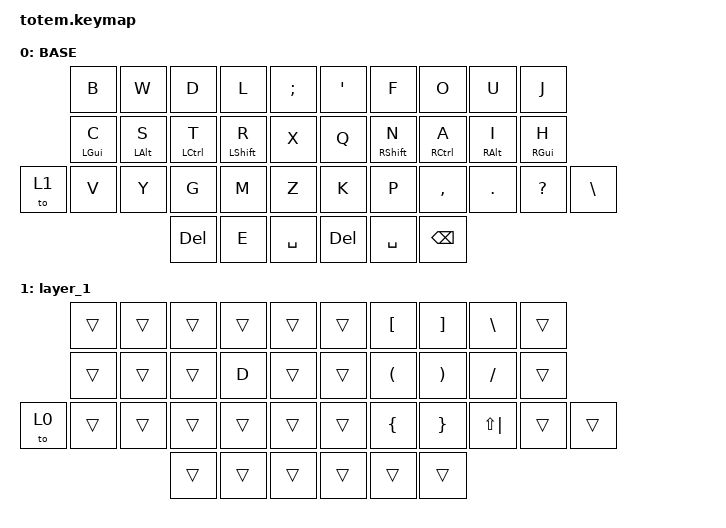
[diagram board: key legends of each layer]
//
//                                                        ▀▀▀▀▀     ▀▀▀▀▀          ▀▀█▀▀
//                                                        ▄▀▀▀▄  ▄  ▄▀▀▀▄  ▄  ▄▀▀▀▄  █  ▄▀▀▀▄
//                                                        █   █  █  █   █  █  █   █  █  █   █
//                                                         ▀▀▀   █   ▀▀▀   █   ▀▀▀   ▀   ▀▀▀
//                                                               █      ▄▄▄█▄▄▄    █   █  
//                                                               ▀      █  █  █     █▄█
//                                                             ▀▀▀▀▀    █  █  █      ▀
//                                                                      ▀  ▀  ▀
//
// ▄▄▄▄▄▄▄▄▄▄▄▄▄▄▄▄▄▄▄▄▄▄▄▄▄▄▄▄▄▄▄▄▄▄▄▄▄▄▄▄▄▄▄▄▄▄▄▄▄▄▄▄▄▄▄▄▄▄▄▄▄▄▄▄▄▄▄▄▄▄▄▄▄▄▄▄▄▄▄▄▄▄▄▄▄▄▄▄▄▄▄▄▄▄▄▄▄▄▄▄▄▄▄▄▄▄▄▄▄▄▄▄▄▄▄▄▄▄▄▄▄▄▄▄▄▄▄▄▄▄▄▄▄▄▄▄▄▄▄▄▄▄▄▄▄▄▄▄▄

#include <behaviors.dtsi>
#include <dt-bindings/zmk/keys.h>

#define BASE 0
#define NAV  1
#define SYM  2
#define ADJ  3
#define TVP1 4
#define TVP2 5

&mt {
    quick-tap-ms = <100>;
    global-quick-tap;
    flavor = "tap-preferred";
    tapping-term-ms = <170>;
};

/ {
    combos {
        compatible = "zmk,combos";

        combo_tab {
            timeout-ms = <50>;
            key-positions = <0 1>;
            bindings = <&kp TAB>;
        };

        combo_tvp {
            timeout-ms = <100>;
            key-positions = <11 12 13>;
            bindings = <&kp ESCAPE>;
        };

        combo_enter {
            bindings = <&kp RETURN>;
            key-positions = <16 17 18>;
        };
    };

    keymap {
        compatible = "zmk,keymap";

        // ▄▄▄▄▄▄▄▄▄▄▄▄▄▄▄▄▄▄▄▄▄▄▄▄▄▄▄▄▄▄▄▄▄▄▄▄▄▄▄▄▄▄▄▄▄▄▄▄▄▄▄▄▄▄▄▄▄▄▄▄▄▄▄▄▄▄▄▄▄▄▄▄▄▄▄▄▄▄▄▄▄▄▄▄▄▄▄▄▄▄▄▄▄▄▄▄▄▄▄▄▄▄▄▄▄▄▄▄▄▄▄▄▄▄▄▄▄▄▄▄▄▄▄▄▄▄▄▄▄▄▄▄▄▄▄▄▄▄▄▄▄▄▄▄▄▄▄▄▄

        base_layer {
            // ┏━━━━━━━━━━━━━━━━━━━━━━━━━━━━━━━━━━━━━━━┓

            label = "BASE";

            // ┗━━━━━━━━━━━━━━━━━━━━━━━━━━━━━━━━━━━━━━━┛
            //             ┏━━━━━━━━━━━┳━━━━━━━━━━━┳━━━━━━━━━━━┳━━━━━━━━━━━┳━━━━━━━━━━━┓   ┏━━━━━━━━━━━┳━━━━━━━━━━━┳━━━━━━━━━━━┳━━━━━━━━━━━┳━━━━━━━━━━━┓
            //             ┃     Q     ┃     W     ┃     F     ┃     P     ┃     G     ┃   ┃     J     ┃     L     ┃     U     ┃     Y     ┃     ;     ┃
            //             ┣━━━━━━━━━━━╋━━━━━━━━━━━╋━━━━━━━━━━━╋━━━━━━━━━━━╋━━━━━━━━━━━┫   ┣━━━━━━━━━━━╋━━━━━━━━━━━╋━━━━━━━━━━━╋━━━━━━━━━━━╋━━━━━━━━━━━┫
            //             ┃     A     ┃     R     ┃     S     ┃     T     ┃     D     ┃   ┃     H     ┃     N     ┃     E     ┃     I     ┃     O     ┃
            // ┏━━━━━━━━━━━╋━━━━━━━━━━━╋━━━━━━━━━━━╋━━━━━━━━━━━╋━━━━━━━━━━━╋━━━━━━━━━━━┫   ┣━━━━━━━━━━━╋━━━━━━━━━━━╋━━━━━━━━━━━╋━━━━━━━━━━━╋━━━━━━━━━━━╋━━━━━━━━━━━┓
            // ┃     Q     ┃     Z     ┃     X     ┃     C     ┃     V     ┃     B     ┃   ┃     K     ┃     M     ┃     ,     ┃     .     ┃     /     ┃     \     ┃
            // ┗━━━━━━━━━━━┻━━━━━━━━━━━┻━━━━━━━━━━━╋━━━━━━━━━━━╋━━━━━━━━━━━╋━━━━━━━━━━━┫   ┣━━━━━━━━━━━╋━━━━━━━━━━━╋━━━━━━━━━━━╋━━━━━━━━━━━┻━━━━━━━━━━━┻━━━━━━━━━━━┛
            //                                     ┃    DEL    ┃    TAB    ┃    SPC    ┃   ┃   ENTER   ┃           ┃   BSPC    ┃
            //                                     ┗━━━━━━━━━━━┻━━━━━━━━━━━┻━━━━━━━━━━━┛   ┗━━━━━━━━━━━┻━━━━━━━━━━━┻━━━━━━━━━━━┛

            bindings = <
       &kp B       &kp W       &kp D        &kp L        &kp SEMICOLON    &kp SQT     &kp F        &kp O        &kp U       &kp J
       &mt LGUI C  &mt LALT S  &mt LCTRL T  &mt LSHFT R  &kp X            &kp Q       &mt RSHFT N  &mt RCTRL A  &mt RALT I  &mt RGUI H
&to 1  &kp V       &kp Y       &kp G        &kp M        &kp Z            &kp K       &kp P        &kp COMMA    &kp DOT     &kp QUESTION  &kp BSLH
                               &kp DEL      &kp E        &kp SPACE        &kp DELETE  &kp SPACE    &kp BSPC
            >;
        };

        layer_1 {
            bindings = <
       &trans  &trans  &trans  &trans  &trans    &trans  &kp LEFT_BRACKET      &kp RIGHT_BRACKET      &kp BACKSLASH  &trans
       &trans  &trans  &trans  &kp D   &trans    &trans  &kp LEFT_PARENTHESIS  &kp RIGHT_PARENTHESIS  &kp SLASH      &trans
&to 0  &trans  &trans  &trans  &trans  &trans    &trans  &kp LEFT_BRACE        &kp RIGHT_BRACE        &kp LS(PIPE)   &trans  &trans
                       &trans  &trans  &trans    &trans  &trans                &trans
            >;
        };

        // ▄▄▄▄▄▄▄▄▄▄▄▄▄▄▄▄▄▄▄▄▄▄▄▄▄▄▄▄▄▄▄▄▄▄▄▄▄▄▄▄▄▄▄▄▄▄▄▄▄▄▄▄▄▄▄▄▄▄▄▄▄▄▄▄▄▄▄▄▄▄▄▄▄▄▄▄▄▄▄▄▄▄▄▄▄▄▄▄▄▄▄▄▄▄▄▄▄▄▄▄▄▄▄▄▄▄▄▄▄▄▄▄▄▄▄▄▄▄▄▄▄▄▄▄▄▄▄▄▄▄▄▄▄▄▄▄▄▄▄▄▄▄▄▄▄▄▄▄▄
        // ▄▄▄▄▄▄▄▄▄▄▄▄▄▄▄▄▄▄▄▄▄▄▄▄▄▄▄▄▄▄▄▄▄▄▄▄▄▄▄▄▄▄▄▄▄▄▄▄▄▄▄▄▄▄▄▄▄▄▄▄▄▄▄▄▄▄▄▄▄▄▄▄▄▄▄▄▄▄▄▄▄▄▄▄▄▄▄▄▄▄▄▄▄▄▄▄▄▄▄▄▄▄▄▄▄▄▄▄▄▄▄▄▄▄▄▄▄▄▄▄▄▄▄▄▄▄▄▄▄▄▄▄▄▄▄▄▄▄▄▄▄▄▄▄▄▄▄▄▄
        // ▄▄▄▄▄▄▄▄▄▄▄▄▄▄▄▄▄▄▄▄▄▄▄▄▄▄▄▄▄▄▄▄▄▄▄▄▄▄▄▄▄▄▄▄▄▄▄▄▄▄▄▄▄▄▄▄▄▄▄▄▄▄▄▄▄▄▄▄▄▄▄▄▄▄▄▄▄▄▄▄▄▄▄▄▄▄▄▄▄▄▄▄▄▄▄▄▄▄▄▄▄▄▄▄▄▄▄▄▄▄▄▄▄▄▄▄▄▄▄▄▄▄▄▄▄▄▄▄▄▄▄▄▄▄▄▄▄▄▄▄▄▄▄▄▄▄▄▄▄
        // ▄▄▄▄▄▄▄▄▄▄▄▄▄▄▄▄▄▄▄▄▄▄▄▄▄▄▄▄▄▄▄▄▄▄▄▄▄▄▄▄▄▄▄▄▄▄▄▄▄▄▄▄▄▄▄▄▄▄▄▄▄▄▄▄▄▄▄▄▄▄▄▄▄▄▄▄▄▄▄▄▄▄▄▄▄▄▄▄▄▄▄▄▄▄▄▄▄▄▄▄▄▄▄▄▄▄▄▄▄▄▄▄▄▄▄▄▄▄▄▄▄▄▄▄▄▄▄▄▄▄▄▄▄▄▄▄▄▄▄▄▄▄▄▄▄▄▄▄▄
        // ▄▄▄▄▄▄▄▄▄▄▄▄▄▄▄▄▄▄▄▄▄▄▄▄▄▄▄▄▄▄▄▄▄▄▄▄▄▄▄▄▄▄▄▄▄▄▄▄▄▄▄▄▄▄▄▄▄▄▄▄▄▄▄▄▄▄▄▄▄▄▄▄▄▄▄▄▄▄▄▄▄▄▄▄▄▄▄▄▄▄▄▄▄▄▄▄▄▄▄▄▄▄▄▄▄▄▄▄▄▄▄▄▄▄▄▄▄▄▄▄▄▄▄▄▄▄▄▄▄▄▄▄▄▄▄▄▄▄▄▄▄▄▄▄▄▄▄▄▄
    };
};
